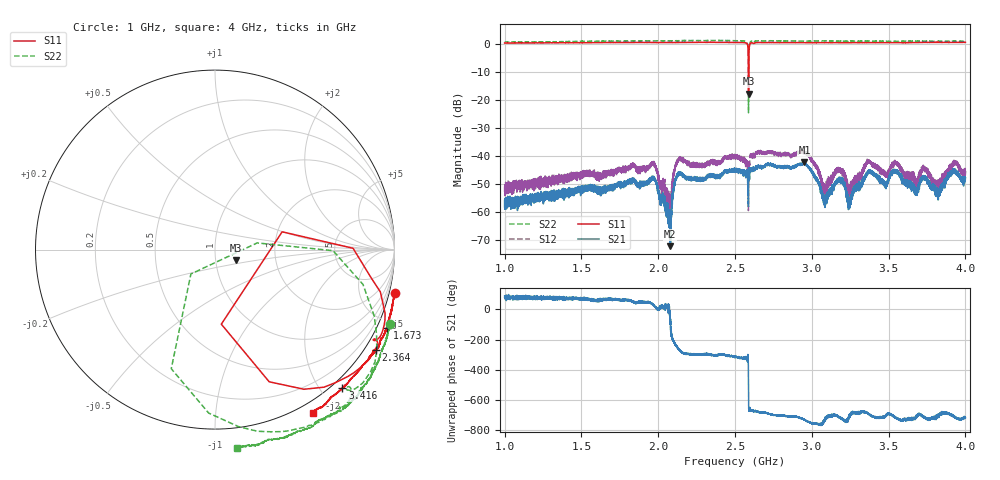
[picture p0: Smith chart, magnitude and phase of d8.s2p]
!Agilent Technologies,N5230C,SG49000117,A.08.50.07
!Agilent N5230C: A.08.50.07
!Date: Monday, May 20, 2024 20:12:06
!Correction: S11(Full 2 Port(1,2))
!S21(Full 2 Port(1,2))
!S12(Full 2 Port(1,2))
!S22(Full 2 Port(1,2))
!S2P File: Measurements: S11, S21, S12, S22:
# Hz S  MA  R 50
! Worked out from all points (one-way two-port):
!   20001 points, 1 GHz to 4 GHz, reference 50 ohm
!   highest |S21| = -42.15 dB at 2.952 GHz (marker M1); lowest = -72.1 dB at 2.078 GHz (marker M2)
!   lowest |S11| = -17.7 dB at 2.588 GHz (marker M3), VSWR 1.30, Z = 62.5 - j7.63 ohm
!   |S11| at or under -10 dB: 2.587603 GHz to 2.589026 GHz (1.423 MHz wide, 0.055 % of centre)
!   |S22| runs from -24.6 to 1.2 dB; largest |S21 - S12| = 0.0073
!   S11 on the Smith chart (normalised r, x): 1 GHz: -1.02, -8.25; 1.673 GHz: -0.56, -4.55; 2.364 GHz: -0.37, -3.46; 3.416 GHz: -0.15, -2.27; 4 GHz: -0.12, -1.75
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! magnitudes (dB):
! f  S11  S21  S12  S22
! 1 GHz  0.3  -55.7  -52.8  0.5
! 1.5 GHz  0.4  -50.9  -47.3  0.8
! 1.673 GHz  0.4  -51.3  -46.9  0.9
! 1.965 GHz  0.5  -47.4  -43.0  1.0
! 2 GHz  0.4  -52.1  -47.3  1.0
! 2.078 GHz  0.4  -72.1  -61.3  1.0
! 2.134 GHz  0.5  -46.4  -41.5  1.1
! 2.364 GHz  0.5  -47.7  -42.5  1.1
! 2.5 GHz  0.5  -44.9  -40.5  1.1
! 2.588 GHz  -17.7  -45.7  -45.5  -19.5
! 2.952 GHz  0.4  -42.2  -38.8  0.9
! 3 GHz  0.4  -45.2  -41.6  1.0
! 3.084 GHz  0.4  -54.5  -53.4  1.0
! 3.171 GHz  0.4  -48.8  -44.8  1.0
! 3.245 GHz  0.4  -57.4  -52.9  0.9
! 3.416 GHz  0.4  -46.8  -44.5  0.9
! 3.5 GHz  0.4  -48.3  -45.9  0.8
! 3.68 GHz  0.4  -52.6  -50.0  0.9
! 3.735 GHz  0.5  -48.0  -44.5  0.9
! 3.818 GHz  0.5  -53.5  -49.9  0.9
! 3.927 GHz  0.5  -44.5  -43.0  0.9
! 4 GHz  0.5  -47.7  -45.9  0.9
